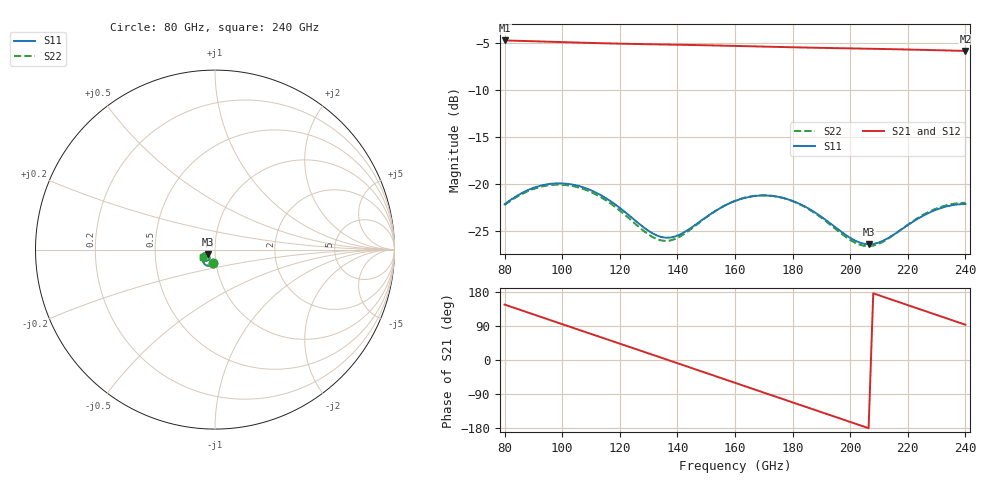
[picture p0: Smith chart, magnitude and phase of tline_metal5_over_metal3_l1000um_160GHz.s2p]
#  GHZ S DB R 50
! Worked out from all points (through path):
!   101 points, 80 GHz to 240 GHz, reference 50 ohm
!   highest |S21| = -4.75 dB at 80 GHz (marker M1); lowest = -5.9 dB at 240 GHz (marker M2)
!   group delay of S21, straight-line fit = 7.17 ps
!   lowest |S11| = -26.4 dB at 206.4 GHz (marker M3), VSWR 1.10, Z = 46.1 - j2.34 ohm
!   |S11| at or under -10 dB: start of sweep to end of sweep
!   |S22| runs from -26.6 to -20.1 dB; largest |S21 - S12| = 5.8e-14
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80  -22.18 -97.6  -4.75 146.2  -4.75 146.2  -22.26 -99.2
88  -20.69 -104.7  -4.82 125.6  -4.82 125.6  -20.80 -105.9
94.4  -20.08 -113.6  -4.88 109.0  -4.88 109.0  -20.20 -114.7
100.8  -19.98 -123.5  -4.94 92.5  -4.94 92.5  -20.12 -124.5
107.2  -20.37 -133.1  -4.99 76.0  -4.99 76.0  -20.54 -134.0
113.6  -21.25 -141.4  -5.05 59.6  -5.05 59.6  -21.46 -142.2
121.6  -22.96 -147.5  -5.10 39.0  -5.10 39.0  -23.26 -148.0
128  -24.57 -146.3  -5.14 22.5  -5.14 22.5  -24.95 -146.0
134.4  -25.67 -138.1  -5.18 6.0  -5.18 6.0  -26.04 -136.6
139.2  -25.61 -130.0  -5.20 -6.4  -5.20 -6.4  -25.88 -127.7
147.2  -24.16 -122.5  -5.25 -27.1  -5.25 -27.1  -24.24 -120.2
160  -21.84 -129.3  -5.33 -60.2  -5.33 -60.2  -21.81 -127.7
166.4  -21.32 -136.8  -5.38 -76.8  -5.38 -76.8  -21.30 -135.5
172.8  -21.29 -145.0  -5.43 -93.3  -5.43 -93.3  -21.28 -143.8
179.2  -21.74 -152.7  -5.47 -109.8  -5.47 -109.8  -21.76 -151.7
187.2  -22.94 -160.0  -5.52 -130.4  -5.52 -130.4  -23.02 -159.0
196.8  -25.08 -160.6  -5.58 -155.2  -5.58 -155.2  -25.27 -159.2
206.4  -26.44 -147.9  -5.63 -180.0  -5.63 -180.0  -26.64 -145.0
214.4  -25.55 -136.6  -5.68 159.3  -5.68 159.3  -25.60 -133.1
227.2  -23.11 -137.0  -5.77 126.2  -5.77 126.2  -23.00 -133.8
233.6  -22.40 -142.5  -5.82 109.6  -5.82 109.6  -22.28 -139.6
240  -22.16 -149.1  -5.87 93.1  -5.87 93.1  -22.03 -146.4
